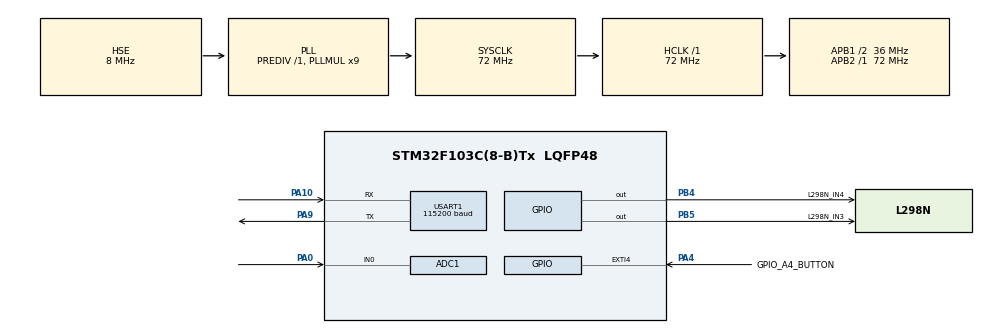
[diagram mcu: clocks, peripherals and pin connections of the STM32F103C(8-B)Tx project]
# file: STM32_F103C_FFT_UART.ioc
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Mcu.Family=STM32F1
RCC.PLLSourceVirtual=RCC_PLLSOURCE_HSE
NVIC.ADC1_2_IRQn=true\:0\:0\:false\:false\:true\:true\:true
NVIC.EXTI4_IRQn=true\:0\:0\:false\:false\:true\:true\:true
ADC1.Rank-0\#ChannelRegularConversion=1
PD1-OSC_OUT.Mode=HSE-External-Oscillator
PA10.Mode=Asynchronous
USART1.BaudRate=115200
PD0-OSC_IN.Signal=RCC_OSC_IN
RCC.APB1CLKDivider=RCC_HCLK_DIV2
RCC.SYSCLKSource=RCC_SYSCLKSOURCE_PLLCLK
ProjectManager.StackSize=0x400
PA0-WKUP.Signal=ADCx_IN0
PD1-OSC_OUT.Signal=RCC_OSC_OUT
RCC.ADCPresc=RCC_ADCPCLK2_DIV6
PA13.Signal=SYS_JTMS-SWDIO
PA9.Mode=Asynchronous
ProjectManager.TargetToolchain=STM32CubeIDE
RCC.HCLKFreq_Value=72000000
RCC.APB2TimFreq_Value=72000000
PA9.Signal=USART1_TX
RCC.USBFreq_Value=72000000
TIM4.Prescaler=2-1
RCC.AHBFreq_Value=72000000
PD0-OSC_IN.Mode=HSE-External-Oscillator
ADC1.Channel-0\#ChannelRegularConversion=ADC_CHANNEL_0
PA4.GPIO_PuPd=GPIO_NOPULL
board=custom
RCC.PLLMUL=RCC_PLL_MUL9
RCC.APB2Freq_Value=72000000
PB4.GPIO_Label=L298N_IN4
PA14.Mode=Serial_Wire
SH.ADCx_IN0.0=ADC1_IN0,IN0
TIM4.Period=2250-1
PA13.Mode=Serial_Wire
Mcu.Name=STM32F103C(8-B)Tx
ADC1.SamplingTime-0\#ChannelRegularConversion=ADC_SAMPLETIME_1CYCLE_5
PA4.Signal=GPXTI4
RCC.SYSCLKFreq_VALUE=72000000
Mcu.Package=LQFP48
PB5.Signal=GPIO_Output
ADC1.master=1
USART1.VirtualMode=VM_ASYNC
PA10.Signal=USART1_RX
PA14.Signal=SYS_JTCK-SWCLK
ProjectManager.HeapSize=0x200
VP_TIM4_VS_ClockSourceINT.Mode=Internal
NVIC.PriorityGroup=NVIC_PRIORITYGROUP_4
ADC1.NbrOfConversionFlag=1
PB5.GPIO_Label=L298N_IN3
RCC.APB1TimFreq_Value=72000000
NVIC.USART1_IRQn=true\:0\:0\:false\:false\:true\:true\:true
NVIC.TIM4_IRQn=true\:0\:0\:false\:false\:true\:true\:true
RCC.APB1Freq_Value=36000000
PA4.GPIO_Label=GPIO_A4_BUTTON
PB4.Signal=GPIO_Output

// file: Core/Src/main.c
/* USER CODE BEGIN Header */
/**
  ******************************************************************************
  * @file           : main.c
  * @brief          : Main program body
  ******************************************************************************
  * @attention
  *
  * <h2><center>&copy; Copyright (c) 2021 STMicroelectronics.
  * All rights reserved.</center></h2>
  *
  * This software component is licensed by ST under BSD 3-Clause license,
  * the "License"; You may not use this file except in compliance with the
  * License. You may obtain a copy of the License at:
  *                        opensource.org/licenses/BSD-3-Clause
  *
  ******************************************************************************
  */
/* USER CODE END Header */
#include "main.h"

/* USER CODE BEGIN Includes */
#include "math.h"
#include "stdio.h"
#include "string.h"
#include "stdlib.h"

/* USER CODE END Includes */

ADC_HandleTypeDef hadc1;

TIM_HandleTypeDef htim4;

UART_HandleTypeDef huart1;

void SystemClock_Config(void);
static void MX_GPIO_Init(void);
static void MX_ADC1_Init(void);
static void MX_TIM4_Init(void);
static void MX_USART1_UART_Init(void);

/* USER CODE BEGIN 0 */
int sayi=0;
#define N		64

uint16_t ADC_Pot = 0 ;
uint16_t duty = 0 ;

int prescaler=0;

uint16_t ADC_Analog = 0;
uint8_t Ornek_Sayisi = 0;
uint8_t Ornek_Tamam = 0;

int REX[N];
int IMX[N];

int BANT[N];
char rxBuffer[8];
void FFT_Analiz(void);
void L298N_Control(void);
void UART_Data_Yolla(void);
char Bant_Deger[200];

/* USER CODE END 0 */

int main(void)
{

  /* MCU Configuration--------------------------------------------------------*/

  /* Reset of all peripherals, Initializes the Flash interface and the Systick. */
  HAL_Init();

  /* Configure the system clock */
  SystemClock_Config();

  /* Initialize all configured peripherals */
  MX_GPIO_Init();
  MX_ADC1_Init();
  MX_TIM4_Init();
  MX_USART1_UART_Init();
  /* USER CODE BEGIN 2 */
  HAL_TIM_Base_Start_IT(&htim4); //Tımer başlat
  //HAL_ADC_Start(&hadc2);
 // HAL_TIM_PWM_Start(&htim3,TIM_CHANNEL_4);

  /* USER CODE END 2 */

  /* Infinite loop */
  /* USER CODE BEGIN WHILE */
  while (1)
  {

	//if(HAL_UART_Receive_IT(&huart1, (uint8_t *)rxBuffer, 5)!=HAL_OK);

	//L298N_Control();

	/*  HAL_UART_Receive(&huart1,(uint8_t *)rxBuffer,5,100);
	  prescaler = 1+atoi(rxBuffer);
	  __HAL_TIM_SET_PRESCALER(&htim4, prescaler);
*/
    /* USER CODE END WHILE */

  }
}

void SystemClock_Config(void)
{
  RCC_OscInitTypeDef RCC_OscInitStruct = {0};
  RCC_ClkInitTypeDef RCC_ClkInitStruct = {0};
  RCC_PeriphCLKInitTypeDef PeriphClkInit = {0};

  /** Initializes the RCC Oscillators according to the specified parameters
  * in the RCC_OscInitTypeDef structure.
  */
  RCC_OscInitStruct.OscillatorType = RCC_OSCILLATORTYPE_HSE;
  RCC_OscInitStruct.HSEState = RCC_HSE_ON;
  RCC_OscInitStruct.HSEPredivValue = RCC_HSE_PREDIV_DIV1;
  RCC_OscInitStruct.HSIState = RCC_HSI_ON;
  RCC_OscInitStruct.PLL.PLLState = RCC_PLL_ON;
  RCC_OscInitStruct.PLL.PLLSource = RCC_PLLSOURCE_HSE;
  RCC_OscInitStruct.PLL.PLLMUL = RCC_PLL_MUL9;
  if (HAL_RCC_OscConfig(&RCC_OscInitStruct) != HAL_OK)
  {
    Error_Handler();
  }
  /** Initializes the CPU, AHB and APB buses clocks
  */
  RCC_ClkInitStruct.ClockType = RCC_CLOCKTYPE_HCLK|RCC_CLOCKTYPE_SYSCLK
                              |RCC_CLOCKTYPE_PCLK1|RCC_CLOCKTYPE_PCLK2;
  RCC_ClkInitStruct.SYSCLKSource = RCC_SYSCLKSOURCE_PLLCLK;
  RCC_ClkInitStruct.AHBCLKDivider = RCC_SYSCLK_DIV1;
  RCC_ClkInitStruct.APB1CLKDivider = RCC_HCLK_DIV2;
  RCC_ClkInitStruct.APB2CLKDivider = RCC_HCLK_DIV1;

  if (HAL_RCC_ClockConfig(&RCC_ClkInitStruct, FLASH_LATENCY_2) != HAL_OK)
  {
    Error_Handler();
  }
  PeriphClkInit.PeriphClockSelection = RCC_PERIPHCLK_ADC;
  PeriphClkInit.AdcClockSelection = RCC_ADCPCLK2_DIV6;
  if (HAL_RCCEx_PeriphCLKConfig(&PeriphClkInit) != HAL_OK)
  {
    Error_Handler();
  }
}

static void MX_ADC1_Init(void)
{

  ADC_ChannelConfTypeDef sConfig = {0};

  /** Common config
  */
  hadc1.Instance = ADC1;
  hadc1.Init.ScanConvMode = ADC_SCAN_DISABLE;
  hadc1.Init.ContinuousConvMode = DISABLE;
  hadc1.Init.DiscontinuousConvMode = DISABLE;
  hadc1.Init.ExternalTrigConv = ADC_SOFTWARE_START;
  hadc1.Init.DataAlign = ADC_DATAALIGN_RIGHT;
  hadc1.Init.NbrOfConversion = 1;
  if (HAL_ADC_Init(&hadc1) != HAL_OK)
  {
    Error_Handler();
  }
  /** Configure Regular Channel
  */
  sConfig.Channel = ADC_CHANNEL_0;
  sConfig.Rank = ADC_REGULAR_RANK_1;
  sConfig.SamplingTime = ADC_SAMPLETIME_1CYCLE_5;
  if (HAL_ADC_ConfigChannel(&hadc1, &sConfig) != HAL_OK)
  {
    Error_Handler();
  }

}

static void MX_TIM4_Init(void)
{

  /* USER CODE BEGIN TIM4_Init 0 */
	// timer_freq = prescaler+1-1 * (period +1-1)
	// 72000000 /2 = prescaler
	// fft_Freq = 18000000 / prescaler
// int period = 18000000 / 200;

  /* USER CODE END TIM4_Init 0 */

  TIM_ClockConfigTypeDef sClockSourceConfig = {0};
  TIM_MasterConfigTypeDef sMasterConfig = {0};

  htim4.Instance = TIM4;
  htim4.Init.Prescaler = 28800-1;
  htim4.Init.CounterMode = TIM_COUNTERMODE_UP;
  htim4.Init.Period = 5-1;
  htim4.Init.ClockDivision = TIM_CLOCKDIVISION_DIV1;
  htim4.Init.AutoReloadPreload = TIM_AUTORELOAD_PRELOAD_DISABLE;
  if (HAL_TIM_Base_Init(&htim4) != HAL_OK)
  {
    Error_Handler();
  }
  sClockSourceConfig.ClockSource = TIM_CLOCKSOURCE_INTERNAL;
  if (HAL_TIM_ConfigClockSource(&htim4, &sClockSourceConfig) != HAL_OK)
  {
    Error_Handler();
  }
  sMasterConfig.MasterOutputTrigger = TIM_TRGO_RESET;
  sMasterConfig.MasterSlaveMode = TIM_MASTERSLAVEMODE_DISABLE;
  if (HAL_TIMEx_MasterConfigSynchronization(&htim4, &sMasterConfig) != HAL_OK)
  {
    Error_Handler();
  }

}

static void MX_USART1_UART_Init(void)
{

  huart1.Instance = USART1;
  huart1.Init.BaudRate = 115200;
  huart1.Init.WordLength = UART_WORDLENGTH_8B;
  huart1.Init.StopBits = UART_STOPBITS_1;
  huart1.Init.Parity = UART_PARITY_NONE;
  huart1.Init.Mode = UART_MODE_TX_RX;
  huart1.Init.HwFlowCtl = UART_HWCONTROL_NONE;
  huart1.Init.OverSampling = UART_OVERSAMPLING_16;
  if (HAL_UART_Init(&huart1) != HAL_OK)
  {
    Error_Handler();
  }

}

static void MX_GPIO_Init(void)
{
  GPIO_InitTypeDef GPIO_InitStruct = {0};

  /* GPIO Ports Clock Enable */
  __HAL_RCC_GPIOD_CLK_ENABLE();
  __HAL_RCC_GPIOA_CLK_ENABLE();
  __HAL_RCC_GPIOB_CLK_ENABLE();

  /*Configure GPIO pin Output Level */
  HAL_GPIO_WritePin(GPIOB, L298N_IN4_Pin|L298N_IN3_Pin, GPIO_PIN_RESET);

  /*Configure GPIO pin : GPIO_A4_BUTTON_Pin */
  GPIO_InitStruct.Pin = GPIO_A4_BUTTON_Pin;
  GPIO_InitStruct.Mode = GPIO_MODE_IT_RISING;
  GPIO_InitStruct.Pull = GPIO_NOPULL;
  HAL_GPIO_Init(GPIO_A4_BUTTON_GPIO_Port, &GPIO_InitStruct);

  /*Configure GPIO pins : L298N_IN4_Pin L298N_IN3_Pin */
  GPIO_InitStruct.Pin = L298N_IN4_Pin|L298N_IN3_Pin;
  GPIO_InitStruct.Mode = GPIO_MODE_OUTPUT_PP;
  GPIO_InitStruct.Pull = GPIO_NOPULL;
  GPIO_InitStruct.Speed = GPIO_SPEED_FREQ_LOW;
  HAL_GPIO_Init(GPIOB, &GPIO_InitStruct);

  /* EXTI interrupt init*/
  HAL_NVIC_SetPriority(EXTI4_IRQn, 0, 0);
  HAL_NVIC_EnableIRQ(EXTI4_IRQn);

}

/* USER CODE BEGIN 4 */
void HAL_TIM_PeriodElapsedCallback(TIM_HandleTypeDef *htim)
{
	HAL_ADC_Start(&hadc1); // ADC Başlat
	while (!HAL_ADC_GetState(&hadc1)); // ADC okuyana kadar bekle
	ADC_Analog =  HAL_ADC_GetValue(&hadc1) ; // ADC değeri al

	if (Ornek_Tamam == 0)
	{
		REX[Ornek_Sayisi++] = ADC_Analog;
		if (Ornek_Sayisi == N)
		{
			Ornek_Tamam = 1;
			Ornek_Sayisi = 0;
		}
	}

	if (Ornek_Tamam==1)
	{
		FFT_Analiz();

		for (int i = 0; i <= N; i++)
		{
		  // kompleks sayı büyüklük hesapla = sqrt(reel^2+imajiner^2)
			BANT[i] = sqrt(REX[i]*REX[i] + IMX[i]*IMX[i]);
		}

		Ornek_Tamam = 0;
	}

	UART_Data_Yolla();

	//Timer temizle
	__HAL_TIM_CLEAR_IT(&htim4, TIM_IT_CC4);
	//while(HAL_UART_GetState(&huart1)!=HAL_UART_STATE_READY);
}

void FFT_Analiz()
{
	double PI= 3.141;
	uint8_t NM1 = N - 1;
	uint8_t ND2 = N / 2;
	uint8_t M = log10(N)/log10(2);
	uint8_t j = ND2;
	uint8_t i, k, l;
	uint8_t LE, LE2,JM1, IP;
	float UR, UI, SR, SI,TR,TI;

	//imajiner kismi 0 yap
	for (i = 0; i <= NM1; i++)
	{
		IMX[i] = 0;
	}

	// Bit reversal sorting
	for (i = 1; i <= N-2; i++)
	{
		if (i >= j) goto a;
		TR = REX[j];
		TI = IMX[j];
		REX[j] = REX[i];
		IMX[j] = IMX[i];
		REX[i] = TR;
		IMX[i] = TI;
		a:
		k = ND2;
		b:
		if (k > j) goto c;
		j -= k;
		k /= 2;
		goto b;
		c:
		j += k;
	}

	//Loop for Log2N stages
	for (l = 1; l <= M; l++)
	{
		LE = pow(2, l);
		LE2 = LE / 2;
		UR = 1;
		UI = 0;
		//Calculate sine & cosine values
		SR = cos(PI/LE2);
		SI = -sin(PI/LE2);
		//Loop for Leach sub-DFT
		for (j = 1; j <= LE2; j++)
		{
			JM1 = j - 1;
			//Loop for each Butterfly
			for (i = JM1; i <= NM1; i += LE)
			{
				IP = i + LE2;
				TR = REX[IP]*UR - IMX[IP]*UI;
				TI = REX[IP]*UI + IMX[IP]*UR;
				REX[IP] = REX[i] - TR;
				IMX[IP] = IMX[i] - TI;
				REX[i] = REX[i] + TR;
				IMX[i] = IMX[i] + TI;
			}
			TR = UR;
			UR = TR*SR - UI*SI;
			UI = TR*SI + UI*SR;
		}
	}
}

void UART_Data_Yolla()
{
	while(HAL_UART_GetState(&huart1)==HAL_UART_STATE_READY)
	{
	  sprintf(Bant_Deger,"%d,%d,%d,%d,%d,%d,%d,%d,%d,%d,%d,%d,%d,%d,%d,%d,%d,%d,%d,"
			  "%d,%d,%d,%d,%d,%d,%d,%d,%d,%d,%d,%d,%d,%d\n",
			  BANT[1],BANT[2],BANT[3],BANT[4],BANT[5],BANT[6],BANT[7],BANT[8],BANT[9],
			  BANT[10],BANT[11],BANT[12],BANT[13],BANT[14],BANT[15],BANT[16],BANT[17],
			  BANT[18],BANT[19],BANT[20],BANT[21],BANT[22],BANT[23],BANT[24],BANT[25],
			  BANT[26],BANT[27],BANT[28],BANT[29],BANT[30],BANT[31],BANT[32],
			  ADC_Analog);
	  if(HAL_UART_Transmit_IT(&huart1,(uint8_t *)Bant_Deger,strlen(Bant_Deger))!=HAL_OK)
		  {
			  Error_Handler();
		  }
	  }
}

 void HAL_GPIO_EXTI_Callback(uint16_t GPIO_Pin)
{

		while((HAL_UART_GetState(&huart1)==HAL_UART_STATE_READY));
		HAL_UART_Receive(&huart1,(uint8_t *)rxBuffer,8,100);

		sscanf(rxBuffer, "%d", &prescaler);

		__HAL_TIM_SET_PRESCALER(&htim4, prescaler);
		//memset(rxBuffer, '\0' , sizeof rxBuffer);
}

/* USER CODE END 4 */

void Error_Handler(void)
{
  __disable_irq();
  while (1)
  {
  }
}

/************************ (C) COPYRIGHT STMicroelectronics *****END OF FILE****/
